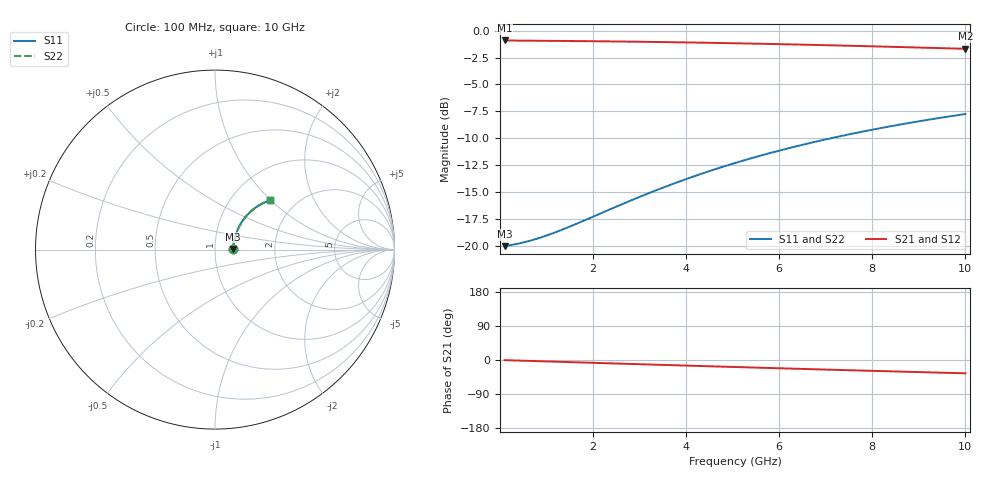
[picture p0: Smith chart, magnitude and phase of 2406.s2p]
# Hz S RI R 50.00
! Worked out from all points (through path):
!   100 points, 100 MHz to 10 GHz, reference 50 ohm
!   highest |S21| = -0.91 dB at 100 MHz (marker M1); lowest = -1.7 dB at 10 GHz (marker M2)
!   group delay of S21, straight-line fit = 9.78 ps
!   lowest |S11| = -20.0 dB at 100 MHz (marker M3), VSWR 1.22, Z = 61.1 + j0.48 ohm
!   |S11| at or under -10 dB: start of sweep to 7.107 GHz
!   |S22| runs from -20.0 to -7.7 dB; largest |S21 - S12| = 0
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1e8  0.0997 0.00389  0.9003 -0.00587  0.9003 -0.00587  0.0997 0.00389
3e8  0.1009 0.0116  0.8991 -0.0176  0.8991 -0.0176  0.1009 0.0116
5e8  0.1019 0.0194  0.898 -0.0292  0.898 -0.0292  0.1019 0.0194
7e8  0.103 0.027  0.8969 -0.0409  0.8969 -0.0409  0.103 0.027
9e8  0.1042 0.0347  0.8956 -0.0525  0.8956 -0.0525  0.1042 0.0347
1.1e9  0.1056 0.0423  0.8941 -0.0641  0.8941 -0.0641  0.1056 0.0423
1.3e9  0.1071 0.0499  0.8925 -0.0756  0.8925 -0.0756  0.1071 0.0499
1.8e9  0.1116 0.0685  0.8877 -0.1042  0.8877 -0.1042  0.1116 0.0685
2.7e9  0.1224 0.1011  0.876 -0.1546  0.876 -0.1546  0.1224 0.1011
3.4e9  0.1332 0.1253  0.8644 -0.1926  0.8644 -0.1926  0.1332 0.1253
3.8e9  0.1403 0.1385  0.8567 -0.2138  0.8567 -0.2138  0.1403 0.1385
4.2e9  0.1479 0.1513  0.8484 -0.2346  0.8484 -0.2346  0.1479 0.1513
4.6e9  0.1561 0.1637  0.8394 -0.2548  0.8394 -0.2548  0.1561 0.1637
5.1e9  0.1672 0.1783  0.8274 -0.2795  0.8274 -0.2795  0.1672 0.1783
5.5e9  0.1766 0.1895  0.8171 -0.2986  0.8171 -0.2986  0.1766 0.1895
5.9e9  0.1865 0.2001  0.8062 -0.3172  0.8062 -0.3172  0.1865 0.2001
6.3e9  0.1968 0.2101  0.7949 -0.3352  0.7949 -0.3352  0.1968 0.2101
6.7e9  0.2075 0.2195  0.7832 -0.3526  0.7832 -0.3526  0.2075 0.2195
7.5e9  0.2298 0.2365  0.7584 -0.3856  0.7584 -0.3856  0.2298 0.2365
8.4e9  0.2562 0.2526  0.729 -0.4199  0.729 -0.4199  0.2562 0.2526
9.2e9  0.2805 0.2643  0.7017 -0.4478  0.7017 -0.4478  0.2805 0.2643
1e10  0.3052 0.2736  0.6737 -0.4733  0.6737 -0.4733  0.3052 0.2736
